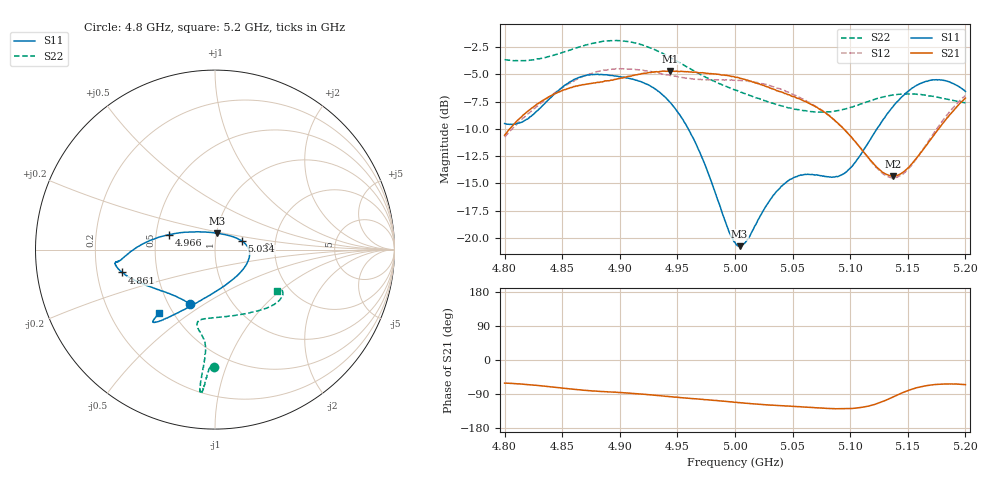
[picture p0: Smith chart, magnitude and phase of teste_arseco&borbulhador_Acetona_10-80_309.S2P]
! Network Analyzer HP8722D
! Hewlett-Packard
! Data name: Linha & Wilkinson
! Saver's name: Rodrigo Anjos
! Comments: Teste da utilização de aquisição
! continua pelo VNA HP8722D
! Time and date: 17/4/2025 16:56
!  Frequency  S11  S21  S12  S22
# HZ  S  MA R 50
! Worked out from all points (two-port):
!   401 points, 4.8 GHz to 5.2 GHz, reference 50 ohm
!   highest |S21| = -4.71 dB at 4.944 GHz (marker M1); lowest = -14.3 dB at 5.137 GHz (marker M2)
!   |S21| within 3 dB of the highest: 4.829 GHz to 5.065 GHz (236.4 MHz wide, 4.78 % of centre); 5.194842 GHz to end of sweep
!   lowest |S11| = -20.8 dB at 5.004 GHz (marker M3), VSWR 1.20, Z = 50.3 + j9.23 ohm
!   |S11| at or under -10 dB: 4.959 GHz to 5.123 GHz (163.8 MHz wide, 3.25 % of centre)
!   |S22| runs from -8.5 to -1.9 dB; largest |S21 - S12| = 0.87
!   S11 on the Smith chart (normalised r, x): 4.8 GHz: 0.64, -0.44; 4.861 GHz: 0.31, -0.11; 4.966 GHz: 0.58, +0.10; 5.034 GHz: 1.35, +0.13; 5.2 GHz: 0.42, -0.38
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4.8e9  0.3345 -114.3  0.2958 -61.1  0.29 -175.2  0.6566 -90.4
4.819e9  0.3491 -134.4  0.3768 -64.6  0.3655 -174.1  0.6514 -92.0
4.861e9  0.5342 -166.2  0.4941 -77.6  0.5282 -177.5  0.7374 -94.3
4.867e9  0.5492 -168.6  0.5023 -79.3  0.5457 -178.6  0.756 -94.4
4.899e9  0.5486 -172.9  0.5367 -85.8  0.5944 175.0  0.8014 -95.7
4.934e9  0.4679 -178.9  0.5779 -94.0  0.5713 171.4  0.7127 -96.1
4.944e9  0.4165 176.7  0.5817 -96.9  0.555 171.4  0.6711 -95.8
4.966e9  0.2706 162.2  0.5747 -102.3  0.5336 173.3  0.5761 -95.3
5e9  0.09535 97.5  0.5456 -111.7  0.5283 175.6  0.4762 -99.3
5.004e9  0.09171 82.8  0.5399 -112.4  0.5274 175.7  0.4679 -100.1
5.011e9  0.09876 59.0  0.5287 -114.4  0.5238 175.6  0.4534 -101.8
5.034e9  0.1582 17.2  0.4793 -119.5  0.493 174.4  0.4118 -103.4
5.049e9  0.1861 2.2  0.4467 -122.1  0.4577 173.8  0.3924 -99.3
5.067e9  0.1956 -17.0  0.4071 -125.4  0.4102 173.4  0.3791 -90.1
5.085e9  0.1901 -45.4  0.3514 -128.4  0.3511 173.6  0.3812 -76.5
5.097e9  0.2013 -69.6  0.3055 -128.4  0.306 174.8  0.3917 -66.6
5.123e9  0.3148 -109.2  0.2111 -115.3  0.2097 -169.9  0.435 -48.6
5.134e9  0.381 -117.9  0.1934 -102.0  0.1897 -155.0  0.4492 -43.0
5.137e9  0.3986 -119.7  0.1919 -98.0  0.1884 -150.3  0.4521 -41.8
5.15e9  0.4689 -125.4  0.2087 -81.1  0.206 -130.6  0.457 -37.0
5.17e9  0.5282 -129.8  0.2831 -66.0  0.289 -112.2  0.447 -32.2
5.2e9  0.4693 -131.3  0.4375 -65.0  0.4497 -107.0  0.4155 -33.7
